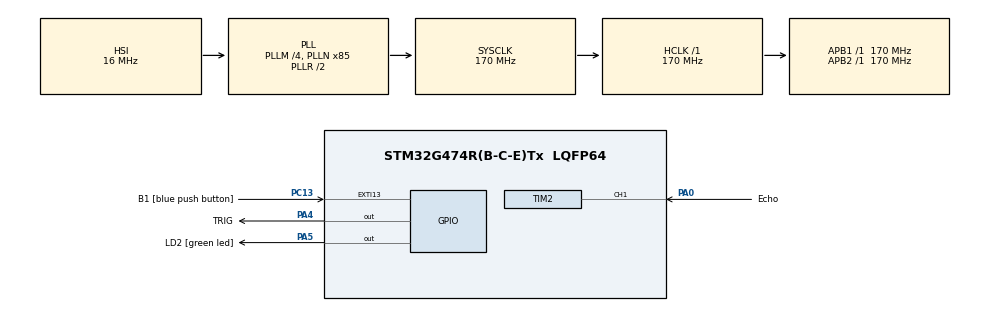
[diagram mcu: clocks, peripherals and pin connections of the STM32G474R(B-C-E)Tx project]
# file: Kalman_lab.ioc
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Mcu.Family=STM32G4
Mcu.Name=STM32G474R(B-C-E)Tx
Mcu.Package=LQFP64
NVIC.EXTI15_10_IRQn=true\:0\:0\:false\:false\:true\:true\:true\:true
NVIC.PriorityGroup=NVIC_PRIORITYGROUP_4
PA0.GPIO_Label=Echo
PA0.Signal=S_TIM2_CH1
PA13.GPIO_Label=T_SWDIO
PA13.Signal=SYS_JTMS-SWDIO
PA14.GPIO_Label=T_SWCLK
PA14.Signal=SYS_JTCK-SWCLK
PA2.GPIO_Label=LPUART1_TX [STLINKV3E_VCP_RX]
PA2.Signal=LPUART1_TX
PA3.GPIO_Label=LPUART1_RX [STLINKV3E_VCP_TX]
PA3.Signal=LPUART1_RX
PA4.GPIO_Label=TRIG
PA4.Signal=GPIO_Output
PA5.GPIO_Label=LD2 [green led]
PA5.Signal=GPIO_Output
PB3.GPIO_Label=T_SWO
PB3.Signal=SYS_JTDO-SWO
PC13.GPIO_Label=B1 [blue push button]
PC13.Signal=GPXTI13
PC14-OSC32_IN.GPIO_Label=RCC_OSC32_IN
PC14-OSC32_IN.Signal=RCC_OSC32_IN
PC15-OSC32_OUT.GPIO_Label=RCC_OSC32_OUT
PC15-OSC32_OUT.Signal=RCC_OSC32_OUT
PF0-OSC_IN.GPIO_Label=RCC_OSC_IN
PF0-OSC_IN.Signal=RCC_OSC_IN
PF1-OSC_OUT.GPIO_Label=RCC_OSC_OUT
PF1-OSC_OUT.Signal=RCC_OSC_OUT
ProjectManager.HeapSize=0x200
ProjectManager.StackSize=0x400
ProjectManager.TargetToolchain=STM32CubeIDE
RCC.ADC12Freq_Value=170000000
RCC.ADC345Freq_Value=170000000
RCC.AHBFreq_Value=170000000
RCC.APB1Freq_Value=170000000
RCC.APB1TimFreq_Value=170000000
RCC.APB2Freq_Value=170000000
RCC.APB2TimFreq_Value=170000000
RCC.CortexFreq_Value=170000000
RCC.EXTERNAL_CLOCK_VALUE=12288000
RCC.HCLKFreq_Value=170000000
RCC.HSE_VALUE=24000000
RCC.HSI48_VALUE=48000000
RCC.HSI_VALUE=16000000
RCC.LSE_VALUE=32768
RCC.PLLM=RCC_PLLM_DIV4
RCC.PLLN=85
RCC.RTCClockSelection=RCC_RTCCLKSOURCE_LSE
RCC.SYSCLKFreq_VALUE=170000000
RCC.SYSCLKSource=RCC_SYSCLKSOURCE_PLLCLK
RCC.USBFreq_Value=170000000
RCC.VCOOutputFreq_Value=340000000
SH.S_TIM2_CH1.0=TIM2_CH1,Input_Capture1_from_TI1
TIM2.Channel-Input_Capture1_from_TI1=TIM_CHANNEL_1
TIM2.Prescaler=169
VP_SYS_VS_DBSignals.Mode=DisableDeadBatterySignals
VP_TIM2_VS_ClockSourceINT.Mode=Internal
board=NUCLEO-G474RE

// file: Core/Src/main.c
/* USER CODE BEGIN Header */
/**
  ******************************************************************************
  * @file           : main.c
  * @brief          : Main program body
  ******************************************************************************
  * @attention
  *
  * Copyright (c) 2026 STMicroelectronics.
  * All rights reserved.
  *
  * This software is licensed under terms that can be found in the LICENSE file
  * in the root directory of this software component.
  * If no LICENSE file comes with this software, it is provided AS-IS.
  *
  ******************************************************************************
  */
/* USER CODE END Header */
#include "main.h"
#include "tim.h"
#include "gpio.h"

/* USER CODE BEGIN PV */
typedef struct {
    float Q; // Process noise covariance
    float R; // Measurement noise covariance
    float P; // Estimation error covariance
    float X; // Estimated state
    float K; // Kalman Gain
} KalmanFilter;
float raw_distance = 0.0;
float filtered_distance = 0.0;
/* USER CODE END PV */

void SystemClock_Config(void);
/* USER CODE BEGIN PFP */
void Kalman_Init(KalmanFilter* kf, float q, float r, float p, float initial_x);
float Read_Ultrasonic_Distance(void);
float Kalman_Update(KalmanFilter* kf, float measurement);
/* USER CODE END PFP */

int main(void)
{

  /* MCU Configuration--------------------------------------------------------*/

  /* Reset of all peripherals, Initializes the Flash interface and the Systick. */
  HAL_Init();

  /* Configure the system clock */
  SystemClock_Config();

  /* Initialize all configured peripherals */
  MX_GPIO_Init();
  MX_TIM2_Init();
  /* USER CODE BEGIN 2 */

  	HAL_TIM_IC_Start(&htim2, TIM_CHANNEL_1);
    KalmanFilter hc_sr04_filter;
    					      // Q        R        P    estimation เริ่มต้น
    Kalman_Init(&hc_sr04_filter, 0.00001, 0.00292, 1.0, 0.0);

  /* USER CODE END 2 */

  /* Infinite loop */
  while (1)
  {

    /* USER CODE BEGIN 3 */
	float current_reading = Read_Ultrasonic_Distance();
	if (current_reading != -1.0) {
		raw_distance = current_reading;
		filtered_distance = Kalman_Update(&hc_sr04_filter, raw_distance);
	}
	HAL_Delay(50);
  }
  /* USER CODE END 3 */
}

void SystemClock_Config(void)
{
  RCC_OscInitTypeDef RCC_OscInitStruct = {0};
  RCC_ClkInitTypeDef RCC_ClkInitStruct = {0};

  /** Configure the main internal regulator output voltage
  */
  HAL_PWREx_ControlVoltageScaling(PWR_REGULATOR_VOLTAGE_SCALE1_BOOST);

  /** Initializes the RCC Oscillators according to the specified parameters
  * in the RCC_OscInitTypeDef structure.
  */
  RCC_OscInitStruct.OscillatorType = RCC_OSCILLATORTYPE_HSI;
  RCC_OscInitStruct.HSIState = RCC_HSI_ON;
  RCC_OscInitStruct.HSICalibrationValue = RCC_HSICALIBRATION_DEFAULT;
  RCC_OscInitStruct.PLL.PLLState = RCC_PLL_ON;
  RCC_OscInitStruct.PLL.PLLSource = RCC_PLLSOURCE_HSI;
  RCC_OscInitStruct.PLL.PLLM = RCC_PLLM_DIV4;
  RCC_OscInitStruct.PLL.PLLN = 85;
  RCC_OscInitStruct.PLL.PLLP = RCC_PLLP_DIV2;
  RCC_OscInitStruct.PLL.PLLQ = RCC_PLLQ_DIV2;
  RCC_OscInitStruct.PLL.PLLR = RCC_PLLR_DIV2;
  if (HAL_RCC_OscConfig(&RCC_OscInitStruct) != HAL_OK)
  {
    Error_Handler();
  }

  /** Initializes the CPU, AHB and APB buses clocks
  */
  RCC_ClkInitStruct.ClockType = RCC_CLOCKTYPE_HCLK|RCC_CLOCKTYPE_SYSCLK
                              |RCC_CLOCKTYPE_PCLK1|RCC_CLOCKTYPE_PCLK2;
  RCC_ClkInitStruct.SYSCLKSource = RCC_SYSCLKSOURCE_PLLCLK;
  RCC_ClkInitStruct.AHBCLKDivider = RCC_SYSCLK_DIV1;
  RCC_ClkInitStruct.APB1CLKDivider = RCC_HCLK_DIV1;
  RCC_ClkInitStruct.APB2CLKDivider = RCC_HCLK_DIV1;

  if (HAL_RCC_ClockConfig(&RCC_ClkInitStruct, FLASH_LATENCY_4) != HAL_OK)
  {
    Error_Handler();
  }
}

/* USER CODE BEGIN 4 */
void Kalman_Init(KalmanFilter* kf, float q, float r, float p, float initial_x) {
    kf->Q = q;
    kf->R = r;
    kf->P = p;
    kf->X = initial_x;
}

float Kalman_Update(KalmanFilter* kf, float measurement) {
    kf->P = kf->P + kf->Q;
    kf->K = kf->P / (kf->P + kf->R);
    kf->X = kf->X + kf->K * (measurement - kf->X);
    kf->P = (1.0f - kf->K) * kf->P;
    return kf->X;
}
float Read_Ultrasonic_Distance(void) {
    uint32_t t1 = 0, t2 = 0;
    HAL_GPIO_WritePin(TRIG_GPIO_Port, TRIG_Pin, GPIO_PIN_SET);
    __HAL_TIM_SET_COUNTER(&htim2, 0);
    while (__HAL_TIM_GET_COUNTER(&htim2) < 10);
    HAL_GPIO_WritePin(TRIG_GPIO_Port, TRIG_Pin, GPIO_PIN_RESET);

    __HAL_TIM_SET_COUNTER(&htim2, 0);
    while (HAL_GPIO_ReadPin(GPIOA, GPIO_PIN_0) == GPIO_PIN_RESET) {
        if(__HAL_TIM_GET_COUNTER(&htim2) > 100000) return -1.0;
    }
    t1 = __HAL_TIM_GET_COUNTER(&htim2);
    while (HAL_GPIO_ReadPin(GPIOA, GPIO_PIN_0) == GPIO_PIN_SET) {
        if(__HAL_TIM_GET_COUNTER(&htim2) > 100000) return -1.0;
    }
    t2 = __HAL_TIM_GET_COUNTER(&htim2);
    float distance = (t2 - t1) * 0.0343 / 2.0;
    if (distance > 45.0) distance = 45.0; // ระยะ max ในหน่วย ซม.

    return distance;
}
/* USER CODE END 4 */

void Error_Handler(void)
{
  __disable_irq();
  while (1)
  {
  }
}
